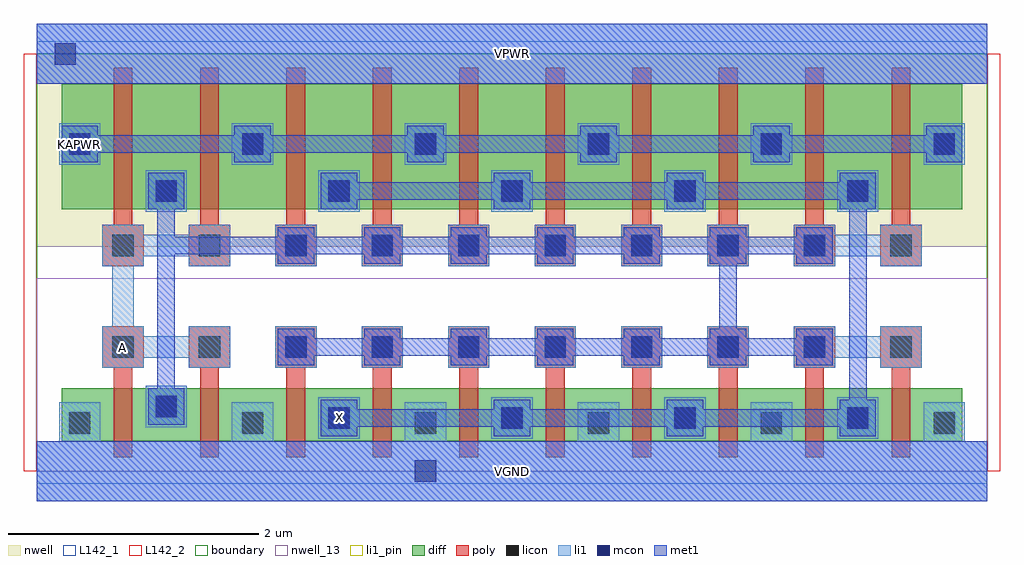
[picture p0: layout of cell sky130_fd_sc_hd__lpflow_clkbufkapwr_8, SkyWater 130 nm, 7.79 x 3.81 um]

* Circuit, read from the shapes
.subckt sky130_fd_sc_hd__lpflow_clkbufkapwr_8 A KAPWR VGND VPWR X
XM1 n1 A VGND VSUBS sky130_fd_pr__nfet_01v8 w=0.42 l=0.15 m=2
XM2 X n1 VGND VSUBS sky130_fd_pr__nfet_01v8 w=0.42 l=0.15 m=8
XM3 n1 A KAPWR n2 sky130_fd_pr__pfet_01v8 w=1 l=0.15 m=2
XM4 X n1 KAPWR n2 sky130_fd_pr__pfet_01v8 w=1 l=0.15 m=8
.ends

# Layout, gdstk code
import gdstk
lib = gdstk.Library(unit=1e-6, precision=1e-09)
def R(c, l, rs):  # rectangles x0, y0, x1, y1
    for r in rs: c.add(gdstk.rectangle(r[:2], r[2:], *l))
def A(c, l, x, y, w, h, nx, ny, dx, dy):  # array of equal rectangles
    R(c, l, [(x+i*dx, y+j*dy, x+i*dx+w, y+j*dy+h) for i in range(nx) for j in range(ny)])
def P(c, l, *ps):  # polygons
    for p in ps: c.add(gdstk.Polygon(p, *l))
nwell_13 = (64, 13)
nwell = (64, 20)
diff = (65, 20)
poly = (66, 20)
licon = (66, 44)
li1_pin = (67, 16)
li1 = (67, 20)
mcon = (67, 44)
met1 = (68, 20)
L142_1 = (142, 1)
L142_2 = (142, 2)
boundary = (235, 4)

sky130_fd_sc_hd__lpflow_ = lib.new_cell('sky130_fd_sc_hd__lpflow_clkbufkapwr_8')
R(sky130_fd_sc_hd__lpflow_, nwell_13, [(0,0,7.59,1.54)])
R(sky130_fd_sc_hd__lpflow_, nwell, [(0,1.79,7.59,3.33)])
A(sky130_fd_sc_hd__lpflow_, diff, 0.615, 0.24, 0.69, 0.42, 9, 1, 0.69, 0)
A(sky130_fd_sc_hd__lpflow_, diff, 0.615, 2.09, 0.69, 1, 9, 1, 0.69, 0)
R(sky130_fd_sc_hd__lpflow_, diff, [(0.2,0.24,7.39,0.66), (0.2,0.24,0.615,0.66), (6.825,0.24,7.39,0.66), (0.2,2.09,7.39,3.09), (0.2,2.09,0.615,3.09), (6.825,2.09,7.39,3.09)])
P(sky130_fd_sc_hd__lpflow_, poly, [(0.615,0.11),(0.615,0.825),(0.525,0.825),(0.525,1.155),(0.855,1.155),(0.855,0.825),(0.765,0.825),(0.765,0.11)],
  [(1.305,0.11),(1.305,0.825),(1.215,0.825),(1.215,1.155),(1.545,1.155),(1.545,0.825),(1.455,0.825),(1.455,0.11)],
  [(0.525,1.635),(0.525,1.965),(0.615,1.965),(0.615,3.22),(0.765,3.22),(0.765,1.965),(0.855,1.965),(0.855,1.635)],
  [(1.215,1.635),(1.215,1.965),(1.305,1.965),(1.305,3.22),(1.455,3.22),(1.455,1.965),(1.545,1.965),(1.545,1.635)],
  [(1.995,0.11),(1.995,0.825),(1.905,0.825),(1.905,1.155),(2.235,1.155),(2.235,0.825),(2.145,0.825),(2.145,0.11)],
  [(2.685,0.11),(2.685,0.825),(2.595,0.825),(2.595,1.155),(2.925,1.155),(2.925,0.825),(2.835,0.825),(2.835,0.11)],
  [(3.375,0.11),(3.375,0.825),(3.285,0.825),(3.285,1.155),(3.615,1.155),(3.615,0.825),(3.525,0.825),(3.525,0.11)],
  [(4.065,0.11),(4.065,0.825),(3.975,0.825),(3.975,1.155),(4.305,1.155),(4.305,0.825),(4.215,0.825),(4.215,0.11)],
  [(4.755,0.11),(4.755,0.825),(4.665,0.825),(4.665,1.155),(4.995,1.155),(4.995,0.825),(4.905,0.825),(4.905,0.11)],
  [(5.445,0.11),(5.445,0.825),(5.355,0.825),(5.355,1.155),(5.685,1.155),(5.685,0.825),(5.595,0.825),(5.595,0.11)],
  [(6.135,0.11),(6.135,0.825),(6.045,0.825),(6.045,1.155),(6.375,1.155),(6.375,0.825),(6.285,0.825),(6.285,0.11)],
  [(6.825,0.11),(6.825,0.825),(6.735,0.825),(6.735,1.155),(7.065,1.155),(7.065,0.825),(6.975,0.825),(6.975,0.11)],
  [(1.905,1.635),(1.905,1.965),(1.995,1.965),(1.995,3.22),(2.145,3.22),(2.145,1.965),(2.235,1.965),(2.235,1.635)],
  [(2.595,1.635),(2.595,1.965),(2.685,1.965),(2.685,3.22),(2.835,3.22),(2.835,1.965),(2.925,1.965),(2.925,1.635)],
  [(3.285,1.635),(3.285,1.965),(3.375,1.965),(3.375,3.22),(3.525,3.22),(3.525,1.965),(3.615,1.965),(3.615,1.635)],
  [(3.975,1.635),(3.975,1.965),(4.065,1.965),(4.065,3.22),(4.215,3.22),(4.215,1.965),(4.305,1.965),(4.305,1.635)],
  [(4.665,1.635),(4.665,1.965),(4.755,1.965),(4.755,3.22),(4.905,3.22),(4.905,1.965),(4.995,1.965),(4.995,1.635)],
  [(5.355,1.635),(5.355,1.965),(5.445,1.965),(5.445,3.22),(5.595,3.22),(5.595,1.965),(5.685,1.965),(5.685,1.635)],
  [(6.045,1.635),(6.045,1.965),(6.135,1.965),(6.135,3.22),(6.285,3.22),(6.285,1.965),(6.375,1.965),(6.375,1.635)],
  [(6.735,1.635),(6.735,1.965),(6.825,1.965),(6.825,3.22),(6.975,3.22),(6.975,1.965),(7.065,1.965),(7.065,1.635)])
A(sky130_fd_sc_hd__lpflow_, licon, 0.26, 0.3, 0.17, 0.17, 6, 2, 1.38, 2.225)
A(sky130_fd_sc_hd__lpflow_, licon, 2.33, 0.34, 0.17, 0.17, 4, 1, 1.38, 0)
A(sky130_fd_sc_hd__lpflow_, licon, 0.605, 0.905, 0.17, 0.17, 10, 2, 0.69, 0.81)
A(sky130_fd_sc_hd__lpflow_, licon, 0.95, 2.15, 0.17, 0.17, 5, 1, 1.38, 0)
R(sky130_fd_sc_hd__lpflow_, licon, [(0.95,0.43,1.12,0.6)])
R(sky130_fd_sc_hd__lpflow_, li1_pin, [(0,-0.24,7.59,0.24), (2.25,0.26,2.58,0.59), (0.18,2.445,0.51,2.775), (0,3.09,7.59,3.57)])
P(sky130_fd_sc_hd__lpflow_, li1_pin, [(0.525,0.825),(0.525,1.155),(0.605,1.155),(0.605,1.635),(0.525,1.635),(0.525,1.965),(0.855,1.965),(0.855,1.885),(1.215,1.885),(1.215,1.965),(1.545,1.965),(1.545,1.635),(1.215,1.635),(1.215,1.715),(0.855,1.715),(0.855,1.635),(0.775,1.635),(0.775,1.155),(0.855,1.155),(0.855,1.075),(1.215,1.075),(1.215,1.155),(1.545,1.155),(1.545,0.825),(1.215,0.825),(1.215,0.905),(0.855,0.905),(0.855,0.825)])
A(sky130_fd_sc_hd__lpflow_, li1, 2.25, 0.26, 0.33, 0.33, 4, 1, 1.38, 0)
A(sky130_fd_sc_hd__lpflow_, li1, 1.905, 0.825, 0.33, 0.33, 6, 2, 0.69, 0.81)
A(sky130_fd_sc_hd__lpflow_, li1, 0.87, 2.07, 0.33, 0.33, 5, 1, 1.38, 0)
A(sky130_fd_sc_hd__lpflow_, li1, 0.18, 2.445, 0.33, 0.33, 6, 1, 1.38, 0)
R(sky130_fd_sc_hd__lpflow_, li1, [(0.87,0.35,1.2,0.68), (0,3.09,7.59,3.57)])
P(sky130_fd_sc_hd__lpflow_, li1, [(0,-0.24),(0,0.24),(0.18,0.24),(0.18,0.55),(0.51,0.55),(0.51,0.24),(1.56,0.24),(1.56,0.55),(1.89,0.55),(1.89,0.24),(2.94,0.24),(2.94,0.55),(3.27,0.55),(3.27,0.24),(4.32,0.24),(4.32,0.55),(4.65,0.55),(4.65,0.24),(5.7,0.24),(5.7,0.55),(6.03,0.55),(6.03,0.24),(7.08,0.24),(7.08,0.55),(7.41,0.55),(7.41,0.24),(7.59,0.24),(7.59,-0.24)],
  [(0.525,0.825),(0.525,1.155),(0.605,1.155),(0.605,1.635),(0.525,1.635),(0.525,1.965),(0.855,1.965),(0.855,1.885),(1.215,1.885),(1.215,1.965),(1.545,1.965),(1.545,1.635),(1.215,1.635),(1.215,1.715),(0.855,1.715),(0.855,1.635),(0.775,1.635),(0.775,1.155),(0.855,1.155),(0.855,1.075),(1.215,1.075),(1.215,1.155),(1.545,1.155),(1.545,0.825),(1.215,0.825),(1.215,0.905),(0.855,0.905),(0.855,0.825)],
  [(6.045,0.825),(6.045,1.155),(6.375,1.155),(6.375,1.075),(6.735,1.075),(6.735,1.155),(7.065,1.155),(7.065,0.825),(6.735,0.825),(6.735,0.905),(6.375,0.905),(6.375,0.825)],
  [(6.045,1.635),(6.045,1.965),(6.375,1.965),(6.375,1.885),(6.735,1.885),(6.735,1.965),(7.065,1.965),(7.065,1.635),(6.735,1.635),(6.735,1.715),(6.375,1.715),(6.375,1.635)])
A(sky130_fd_sc_hd__lpflow_, mcon, 2.33, 0.34, 0.17, 0.17, 4, 1, 1.38, 0)
A(sky130_fd_sc_hd__lpflow_, mcon, 1.985, 0.905, 0.17, 0.17, 7, 2, 0.69, 0.81)
A(sky130_fd_sc_hd__lpflow_, mcon, 0.95, 2.15, 0.17, 0.17, 5, 1, 1.38, 0)
A(sky130_fd_sc_hd__lpflow_, mcon, 0.26, 2.525, 0.17, 0.17, 6, 1, 1.38, 0)
R(sky130_fd_sc_hd__lpflow_, mcon, [(3.02,-0.085,3.19,0.085), (0.95,0.43,1.12,0.6), (0.145,3.245,0.315,3.415)])
R(sky130_fd_sc_hd__lpflow_, met1, [(0,-0.24,7.59,0.24), (0,3.09,7.59,3.57)])
P(sky130_fd_sc_hd__lpflow_, met1, [(0.89,0.37),(0.89,0.66),(0.965,0.66),(0.965,2.09),(0.89,2.09),(0.89,2.38),(1.18,2.38),(1.18,2.09),(1.105,2.09),(1.105,1.87),(1.925,1.87),(1.925,1.945),(2.215,1.945),(2.215,1.87),(2.615,1.87),(2.615,1.945),(2.905,1.945),(2.905,1.87),(3.305,1.87),(3.305,1.945),(3.595,1.945),(3.595,1.87),(3.995,1.87),(3.995,1.945),(4.285,1.945),(4.285,1.87),(4.685,1.87),(4.685,1.945),(4.975,1.945),(4.975,1.87),(5.375,1.87),(5.375,1.945),(5.665,1.945),(5.665,1.87),(6.065,1.87),(6.065,1.945),(6.355,1.945),(6.355,1.655),(6.065,1.655),(6.065,1.73),(5.665,1.73),(5.665,1.655),(5.59,1.655),(5.59,1.135),(5.665,1.135),(5.665,1.06),(6.065,1.06),(6.065,1.135),(6.355,1.135),(6.355,0.845),(6.065,0.845),(6.065,0.92),(5.665,0.92),(5.665,0.845),(5.375,0.845),(5.375,0.92),(4.975,0.92),(4.975,0.845),(4.685,0.845),(4.685,0.92),(4.285,0.92),(4.285,0.845),(3.995,0.845),(3.995,0.92),(3.595,0.92),(3.595,0.845),(3.305,0.845),(3.305,0.92),(2.905,0.92),(2.905,0.845),(2.615,0.845),(2.615,0.92),(2.215,0.92),(2.215,0.845),(1.925,0.845),(1.925,1.135),(2.215,1.135),(2.215,1.06),(2.615,1.06),(2.615,1.135),(2.905,1.135),(2.905,1.06),(3.305,1.06),(3.305,1.135),(3.595,1.135),(3.595,1.06),(3.995,1.06),(3.995,1.135),(4.285,1.135),(4.285,1.06),(4.685,1.06),(4.685,1.135),(4.975,1.135),(4.975,1.06),(5.375,1.06),(5.375,1.135),(5.45,1.135),(5.45,1.655),(5.375,1.655),(5.375,1.73),(4.975,1.73),(4.975,1.655),(4.685,1.655),(4.685,1.73),(4.285,1.73),(4.285,1.655),(3.995,1.655),(3.995,1.73),(3.595,1.73),(3.595,1.655),(3.305,1.655),(3.305,1.73),(2.905,1.73),(2.905,1.655),(2.615,1.655),(2.615,1.73),(2.215,1.73),(2.215,1.655),(1.925,1.655),(1.925,1.73),(1.105,1.73),(1.105,0.66),(1.18,0.66),(1.18,0.37)],
  [(2.27,0.28),(2.27,0.57),(2.56,0.57),(2.56,0.495),(3.65,0.495),(3.65,0.57),(3.94,0.57),(3.94,0.495),(5.03,0.495),(5.03,0.57),(5.32,0.57),(5.32,0.495),(6.41,0.495),(6.41,0.57),(6.485,0.57),(6.485,2.09),(6.41,2.09),(6.41,2.165),(5.32,2.165),(5.32,2.09),(5.03,2.09),(5.03,2.165),(3.94,2.165),(3.94,2.09),(3.65,2.09),(3.65,2.165),(2.56,2.165),(2.56,2.09),(2.27,2.09),(2.27,2.38),(2.56,2.38),(2.56,2.305),(3.65,2.305),(3.65,2.38),(3.94,2.38),(3.94,2.305),(5.03,2.305),(5.03,2.38),(5.32,2.38),(5.32,2.305),(6.41,2.305),(6.41,2.38),(6.7,2.38),(6.7,2.09),(6.625,2.09),(6.625,0.57),(6.7,0.57),(6.7,0.28),(6.41,0.28),(6.41,0.355),(5.32,0.355),(5.32,0.28),(5.03,0.28),(5.03,0.355),(3.94,0.355),(3.94,0.28),(3.65,0.28),(3.65,0.355),(2.56,0.355),(2.56,0.28)],
  [(0.2,2.465),(0.2,2.755),(0.49,2.755),(0.49,2.68),(1.58,2.68),(1.58,2.755),(1.87,2.755),(1.87,2.68),(2.96,2.68),(2.96,2.755),(3.25,2.755),(3.25,2.68),(4.34,2.68),(4.34,2.755),(4.63,2.755),(4.63,2.68),(5.72,2.68),(5.72,2.755),(6.01,2.755),(6.01,2.68),(7.1,2.68),(7.1,2.755),(7.39,2.755),(7.39,2.465),(7.1,2.465),(7.1,2.54),(6.01,2.54),(6.01,2.465),(5.72,2.465),(5.72,2.54),(4.63,2.54),(4.63,2.465),(4.34,2.465),(4.34,2.54),(3.25,2.54),(3.25,2.465),(2.96,2.465),(2.96,2.54),(1.87,2.54),(1.87,2.465),(1.58,2.465),(1.58,2.54),(0.49,2.54),(0.49,2.465)])
R(sky130_fd_sc_hd__lpflow_, L142_1, [(0,-0.1,7.59,0), (0,3.33,7.59,3.43)])
R(sky130_fd_sc_hd__lpflow_, L142_2, [(-0.1,0,0,3.33), (7.59,0,7.69,3.33)])
R(sky130_fd_sc_hd__lpflow_, boundary, [(0,0,7.59,3.33)])
sky130_fd_sc_hd__lpflow_.add(gdstk.Label('X', (2.415,0.425), layer=67, texttype=5))
sky130_fd_sc_hd__lpflow_.add(gdstk.Label('KAPWR', (0.345,2.61), layer=67, texttype=5))
sky130_fd_sc_hd__lpflow_.add(gdstk.Label('A', (0.69,0.99), layer=67, texttype=5))
sky130_fd_sc_hd__lpflow_.add(gdstk.Label('VGND', (3.795,0), layer=67, texttype=5))
sky130_fd_sc_hd__lpflow_.add(gdstk.Label('VPWR', (3.795,3.33), layer=67, texttype=5))
sky130_fd_sc_hd__lpflow_.add(gdstk.Label('VGND', (3.795,0), layer=68, texttype=5))
sky130_fd_sc_hd__lpflow_.add(gdstk.Label('VPWR', (3.795,3.33), layer=68, texttype=5))

lib.write_gds('sky130_fd_sc_hd__lpflow_clkbufkapwr_8.gds')
